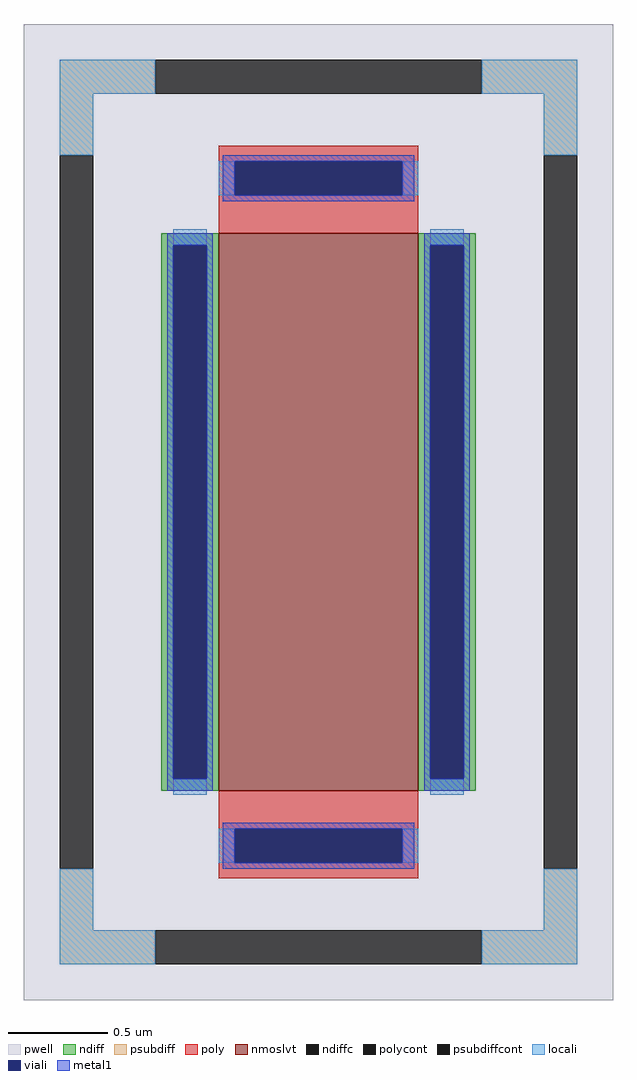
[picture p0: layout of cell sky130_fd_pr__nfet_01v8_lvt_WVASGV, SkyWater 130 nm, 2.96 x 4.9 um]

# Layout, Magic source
magic
tech sky130A
<< pwell >>
rect -148 -245 148 245
<< nmoslvt >>
rect -50 -140 50 140
<< ndiff >>
rect -79 134 -50 140
rect -79 -134 -73 134
rect -56 -134 -50 134
rect -79 -140 -50 -134
rect 50 134 79 140
rect 50 -134 56 134
rect 73 -134 79 134
rect 50 -140 79 -134
<< ndiffc >>
rect -73 -134 -56 134
rect 56 -134 73 134
<< psubdiff >>
rect -130 210 -82 227
rect 82 210 130 227
rect -130 179 -113 210
rect 113 179 130 210
rect -130 -210 -113 -179
rect 113 -210 130 -179
rect -130 -227 -82 -210
rect 82 -227 130 -210
<< psubdiffcont >>
rect -82 210 82 227
rect -130 -179 -113 179
rect 113 -179 130 179
rect -82 -227 82 -210
<< poly >>
rect -50 176 50 184
rect -50 159 -42 176
rect 42 159 50 176
rect -50 140 50 159
rect -50 -159 50 -140
rect -50 -176 -42 -159
rect 42 -176 50 -159
rect -50 -184 50 -176
<< polycont >>
rect -42 159 42 176
rect -42 -176 42 -159
<< locali >>
rect -130 210 -82 227
rect 82 210 130 227
rect -130 179 -113 210
rect 113 179 130 210
rect -50 159 -42 176
rect 42 159 50 176
rect -73 134 -56 142
rect -73 -142 -56 -134
rect 56 134 73 142
rect 56 -142 73 -134
rect -50 -176 -42 -159
rect 42 -176 50 -159
rect -130 -210 -113 -179
rect 113 -210 130 -179
rect -130 -227 -82 -210
rect 82 -227 130 -210
<< viali >>
rect -42 159 42 176
rect -73 -134 -56 134
rect 56 -134 73 134
rect -42 -176 42 -159
<< metal1 >>
rect -48 176 48 179
rect -48 159 -42 176
rect 42 159 48 176
rect -48 156 48 159
rect -76 134 -53 140
rect -76 -134 -73 134
rect -56 -134 -53 134
rect -76 -140 -53 -134
rect 53 134 76 140
rect 53 -134 56 134
rect 73 -134 76 134
rect 53 -140 76 -134
rect -48 -159 48 -156
rect -48 -176 -42 -159
rect 42 -176 48 -159
rect -48 -179 48 -176
<< properties >>
string FIXED_BBOX -121 -218 121 218
string gencell sky130_fd_pr__nfet_01v8_lvt
string library sky130
string parameters w 2.8 l 1.0 m 1 nf 1 diffcov 100 polycov 100 guard 1 glc 1 grc 1 gtc 1 gbc 1 tbcov 100 rlcov 100 topc 1 botc 1 poverlap 0 doverlap 1 lmin 0.15 wmin 0.42 compatible {sky130_fd_pr__nfet_01v8 sky130_fd_pr__nfet_01v8_lvt  sky130_fd_bs_flash__special_sonosfet_star  sky130_fd_pr__nfet_g5v0d10v5 sky130_fd_pr__nfet_05v0_nvt  sky130_fd_pr__nfet_03v3_nvt} full_metal 1 viasrc 100 viadrn 100 viagate 100 viagb 0 viagr 0 viagl 0 viagt 0
<< end >>
